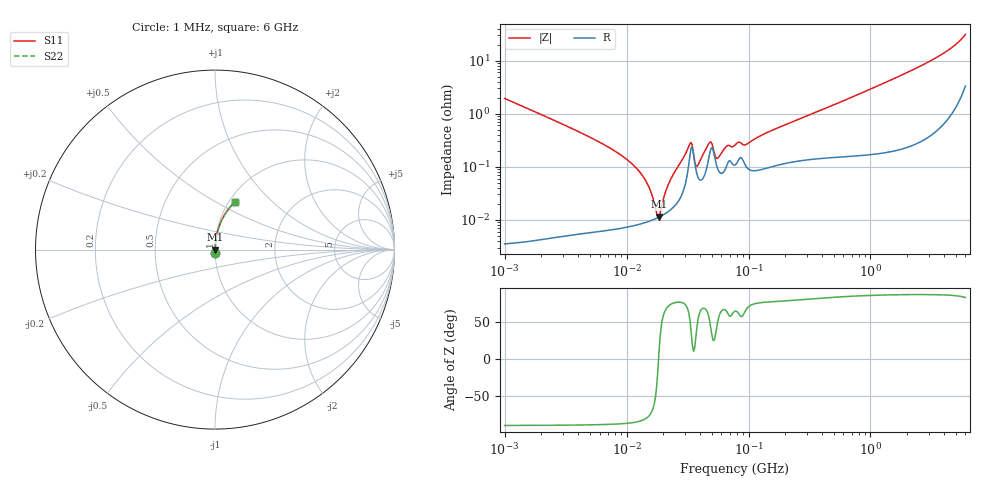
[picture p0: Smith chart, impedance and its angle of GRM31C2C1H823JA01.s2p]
!Murata Part Number: GRM31C2C1H823JA01
!These Parameters are Measured in Series Mode Connection
!Data Generated on Mar 30, 2021
!  o--ll--o
!Port1  Port2
!  o------o
!Operation Temp=25[degC], DC Bias Voltage=0[V]
!Freq. Start=1000[kHz] Stop=6[GHz] 401[Steps]
# Hz S RI R 50
!Freq.(Hz) S11(Real) S11(Imag) S21(Real) S21(Imag) S12(Real) S12(Imag) S22(Real) S22(Imag)
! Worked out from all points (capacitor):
!   401 points, 1 MHz to 6 GHz, reference 50 ohm
!   read as one part in series: C = 81.7 nF near 1.044 MHz
!   lowest |Z| = 11.4 mohm at 18.44 MHz (marker M1)
!   series resonance near 18.29 MHz, so ESL is about 930 pH
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1000000  0.000412 -0.0194  0.9996 0.0194  0.9996 0.0194  0.000412 -0.0194
4293785  7.29e-05 -0.00429  0.9999 0.00429  0.9999 0.00429  7.29e-05 -0.00429
8067822  7.01e-05 -0.00196  0.9999 0.00196  0.9999 0.00196  7.01e-05 -0.00196
1.193364e7  7.98e-05 -0.000958  0.9999 0.000958  0.9999 0.000958  7.98e-05 -0.000958
1.483293e7  9.16e-05 -0.000467  0.9999 0.000467  0.9999 0.000467  9.16e-05 -0.000467
1.618111e7  9.84e-05 -0.000274  0.9999 0.000274  0.9999 0.000274  9.84e-05 -0.000274
1.765184e7  0.000107 -8.02e-05  0.9999 8.02e-05  0.9999 8.02e-05  0.000107 -8.02e-05
1.843659e7  0.000112 1.82e-05  0.9999 -1.82e-05  0.9999 -1.82e-05  0.000112 1.82e-05
2.242276e7  0.000148 0.000491  0.9999 -0.000491  0.9999 -0.000491  0.000148 0.000491
3.316698e7  0.00171 0.00216  0.9983 -0.00216  0.9983 -0.00216  0.00171 0.00216
3.46415e7  0.00231 0.000805  0.9977 -0.000805  0.9977 -0.000805  0.00231 0.000805
3.779011e7  0.000722 0.000702  0.9993 -0.000702  0.9993 -0.000702  0.000722 0.000702
4.800399e7  0.00176 0.00227  0.9982 -0.00227  0.9982 -0.00227  0.00176 0.00227
5.589783e7  0.000913 0.00113  0.9991 -0.00113  0.9991 -0.00113  0.000913 0.00113
6.652088e7  0.00108 0.00223  0.9989 -0.00223  0.9989 -0.00223  0.00108 0.00223
7.745967e7  0.00108 0.00233  0.9989 -0.00233  0.9989 -0.00233  0.00108 0.00233
9.627852e7  0.000992 0.00246  0.999 -0.00246  0.999 -0.00246  0.000992 0.00246
1.424119e8  0.000965 0.00432  0.999 -0.00432  0.999 -0.00432  0.000965 0.00432
3.325952e8  0.00148 0.00981  0.9985 -0.00981  0.9985 -0.00981  0.00148 0.00981
1.428092e9  0.00364 0.0417  0.9964 -0.0417  0.9964 -0.0417  0.00364 0.0417
3.638376e9  0.0195 0.1187  0.9805 -0.1187  0.9805 -0.1187  0.0195 0.1187
6e9  0.1121 0.2664  0.8879 -0.2664  0.8879 -0.2664  0.1121 0.2664
